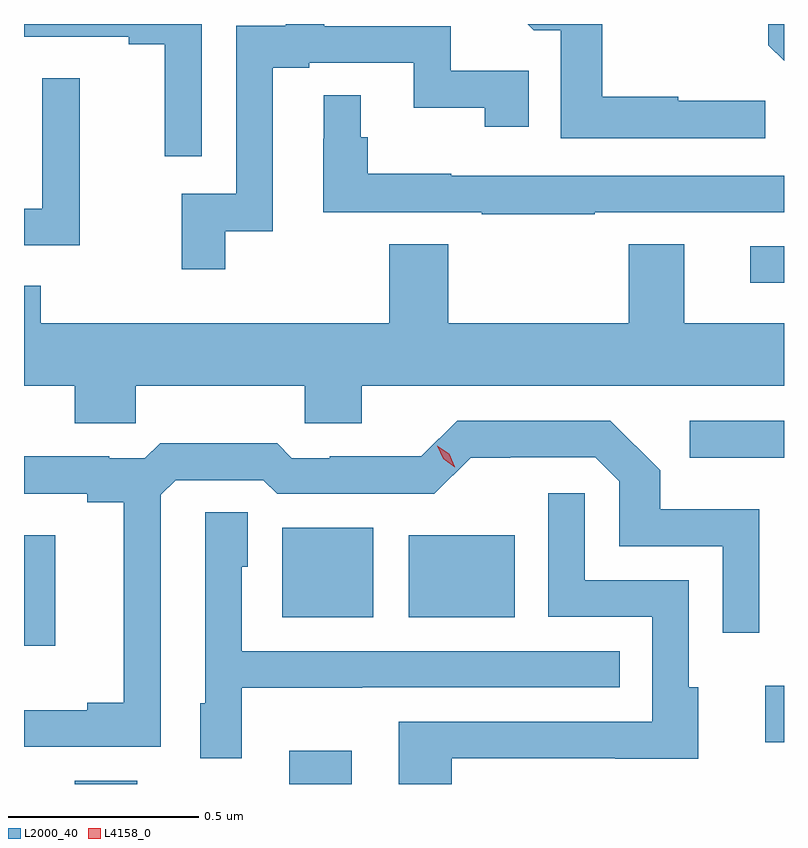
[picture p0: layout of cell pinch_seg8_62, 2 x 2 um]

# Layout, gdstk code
import gdstk
lib = gdstk.Library(unit=1e-6, precision=1e-09)
def R(c, l, rs):  # rectangles x0, y0, x1, y1
    for r in rs: c.add(gdstk.rectangle(r[:2], r[2:], *l))
def P(c, l, *ps):  # polygons
    for p in ps: c.add(gdstk.Polygon(p, *l))
L2000_40 = (2000, 40)
L4158_0 = (4158, 0)

pinch_seg8_62 = lib.new_cell('pinch_seg8_62')
R(pinch_seg8_62, L2000_40, [(912.467,1107.46,912.631,1107.469), (913.031,1107.46,913.195,1107.547), (914.283,1107.57,914.333,1107.718), (912.333,1107.824,912.415,1108.114), (913.013,1107.899,913.252,1108.135), (913.346,1107.899,913.624,1108.114), (914.085,1108.319,914.333,1108.416), (914.244,1108.779,914.333,1108.875)])
P(pinch_seg8_62, L2000_40, [(914.284,1109.258),(914.055,1109.258),(914.055,1109.269),(913.855,1109.269),(913.855,1109.46),(913.659,1109.46),(913.675,1109.444),(913.746,1109.444),(913.746,1109.16),(914.284,1109.16)],
  [(912.801,1109.46),(912.333,1109.46),(912.333,1109.427),(912.608,1109.427),(912.608,1109.407),(912.703,1109.407),(912.703,1109.112),(912.801,1109.112)],
  [(914.333,1109.46),(914.292,1109.46),(914.292,1109.404),(914.333,1109.363)],
  [(912.862,1108.915),(912.988,1108.915),(912.988,1109.345),(913.084,1109.345),(913.084,1109.358),(913.358,1109.358),(913.358,1109.24),(913.546,1109.24),(913.546,1109.19),(913.661,1109.19),(913.661,1109.337),(913.456,1109.337),(913.456,1109.454),(913.123,1109.454),(913.123,1109.46),(913.022,1109.46),(913.022,1109.456),(912.891,1109.456),(912.891,1109.013),(912.748,1109.013),(912.748,1108.815),(912.862,1108.815)],
  [(912.48,1109.317),(912.381,1109.317),(912.381,1108.974),(912.333,1108.974),(912.333,1108.878),(912.48,1108.878)],
  [(913.835,1108.965),(914.333,1108.965),(914.333,1109.061),(913.457,1109.061),(913.457,1109.066),(913.238,1109.066),(913.238,1109.162),(913.219,1109.162),(913.219,1109.273),(913.122,1109.273),(913.122,1109.158),(913.121,1109.158),(913.121,1108.965),(913.537,1108.965),(913.537,1108.96),(913.835,1108.96)],
  [(912.627,1108.508),(913.072,1108.508),(913.072,1108.41),(913.222,1108.41),(913.222,1108.508),(914.333,1108.508),(914.333,1108.672),(914.071,1108.672),(914.071,1108.88),(913.924,1108.88),(913.924,1108.672),(913.449,1108.672),(913.449,1108.88),(913.294,1108.88),(913.294,1108.672),(912.377,1108.672),(912.377,1108.771),(912.333,1108.771),(912.333,1108.508),(912.467,1108.508),(912.467,1108.41),(912.627,1108.41)],
  [(912.693,1108.221),(912.732,1108.26),(912.963,1108.26),(912.999,1108.224),(913.413,1108.224),(913.508,1108.319),(913.612,1108.319),(913.612,1108.32),(913.836,1108.32),(913.899,1108.257),(913.899,1108.086),(914.172,1108.086),(914.172,1107.858),(914.268,1107.858),(914.268,1108.183),(914.007,1108.183),(914.007,1108.286),(913.876,1108.416),(913.473,1108.416),(913.379,1108.322),(913.138,1108.322),(913.138,1108.317),(913.038,1108.317),(912.999,1108.357),(912.691,1108.357),(912.651,1108.317),(912.557,1108.317),(912.557,1108.322),(912.333,1108.322),(912.333,1108.224),(912.5,1108.224),(912.5,1108.202),(912.596,1108.202),(912.596,1107.674),(912.5,1107.674),(912.5,1107.654),(912.333,1107.654),(912.333,1107.558),(912.693,1107.558)],
  [(913.459,1107.528),(913.889,1107.528),(913.889,1107.527),(914.107,1107.527),(914.107,1107.714),(914.082,1107.714),(914.082,1107.996),(913.809,1107.996),(913.809,1108.225),(913.713,1108.225),(913.713,1107.9),(913.986,1107.9),(913.986,1107.624),(913.319,1107.624),(913.319,1107.46),(913.459,1107.46)],
  [(912.906,1107.713),(913.223,1107.713),(913.223,1107.714),(913.901,1107.714),(913.901,1107.81),(912.906,1107.81),(912.906,1108.032),(912.922,1108.032),(912.922,1108.175),(912.81,1108.175),(912.81,1107.672),(912.797,1107.672),(912.797,1107.528),(912.906,1107.528)])
P(pinch_seg8_62, L4158_0, [(913.467,1108.294),(913.436,1108.316),(913.421,1108.35),(913.421,1108.35),(913.421,1108.35),(913.452,1108.329),(913.467,1108.295),(913.467,1108.294)])

lib.write_gds('pinch_seg8_62.gds')
